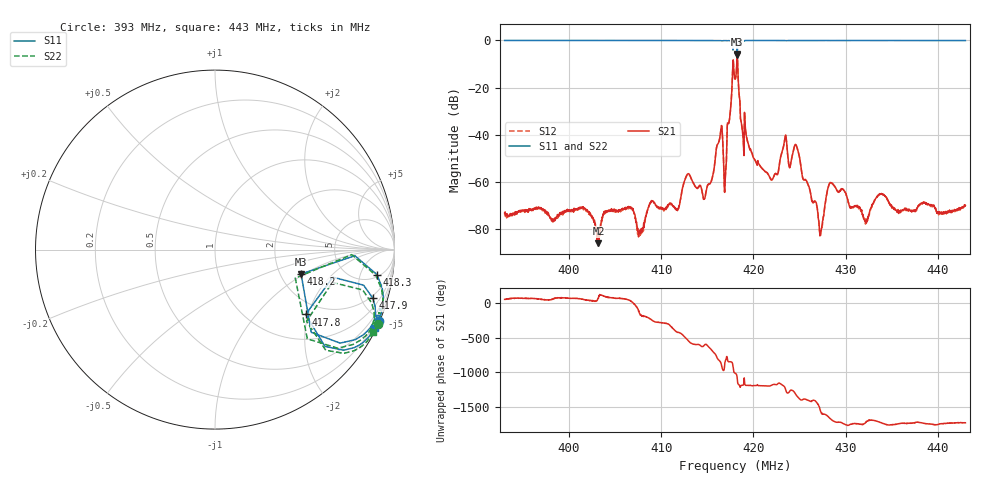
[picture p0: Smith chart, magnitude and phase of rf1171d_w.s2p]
!HP8753
# HZ S RI R 50
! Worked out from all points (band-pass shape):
!   1601 points, 393 MHz to 443 MHz, reference 50 ohm
!   highest |S21| = -5.77 dB at 418.2 MHz (marker M1); lowest = -86.0 dB at 403.2 MHz (marker M2)
!   |S21| within 3 dB of the highest: 417.7798 MHz to 417.8193 MHz (39.55 kHz wide, 0.00947 % of centre); 418.2048 MHz to 418.2824 MHz (77.63 kHz wide, 0.0186 % of centre)
!   lowest |S11| = -6.0 dB at 418.2 MHz (marker M3), VSWR 2.99, Z = 130 - j47 ohm
!   |S11| at or under -10 dB: nowhere
!   |S22| runs from -6.5 to 0.0 dB; largest |S21 - S12| = 0.019
!   S11 on the Smith chart (normalised r, x): 393 MHz: 0.06, -4.82; 417.8 MHz: 1.64, -1.92; 417.9 MHz: 1.73, -6.17; 418.2 MHz: 2.60, -0.94; 418.3 MHz: 6, -10; 443 MHz: 0.08, -4.31
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3.93e8  0.9133 -0.396  0.000135 0.000172  0.000131 0.000149  0.9103 -0.4169
4.013437e8  0.9096 -0.4044  0.000162 0.000238  0.000148 0.000223  0.9064 -0.4252
4.031875e8  0.9087 -0.4062  1.92e-05 4.62e-05  8.2e-06 4.23e-05  0.905 -0.4269
4.096875e8  0.9045 -0.4141  4.21e-05 0.00029  4.29e-05 0.000282  0.9008 -0.4352
4.129062e8  0.9003 -0.4196  -0.00149 3.26e-05  -0.00145 9e-07  0.8958 -0.4407
4.147188e8  0.8981 -0.4255  -0.000195 0.000398  -0.000206 0.000398  0.8933 -0.447
4.164062e8  0.8854 -0.4407  -0.00625 -0.00814  -0.00614 -0.00817  0.8797 -0.4623
4.169062e8  0.8857 -0.4416  -0.000618 -0.000559  -0.000602 -0.0006  0.8804 -0.463
4.177812e8  0.5049 -0.3614  -0.3602 0.0886  -0.3632 0.0963  0.5102 -0.399
4.17875e8  0.8799 -0.2712  0.0162 0.2267  0.0146 0.2225  0.8737 -0.2988
4.18e8  0.8845 -0.399  0.056 0.1409  0.0535 0.1405  0.8761 -0.4254
4.1825e8  0.4798 -0.1359  0.482 -0.1806  0.4662 -0.1905  0.4474 -0.1588
4.183125e8  0.9028 -0.1397  0.0364 -0.2277  0.0353 -0.2208  0.8974 -0.1441
4.1875e8  0.9235 -0.3647  -0.00444 -0.0141  -0.00414 -0.0139  0.9191 -0.3859
4.201563e8  0.9094 -0.4022  -0.00104 -0.00274  -0.000992 -0.00272  0.9037 -0.4243
4.24625e8  0.8988 -0.4113  -0.00262 0.00544  -0.00264 0.00536  0.8925 -0.4343
4.263437e8  0.9014 -0.4177  0.00035 0.000181  0.000344 0.000166  0.8947 -0.4406
4.273125e8  0.9 -0.4197  -5.89e-05 -6.85e-05  -4.51e-05 -6.08e-05  0.8931 -0.443
4.284062e8  0.899 -0.4209  -0.000503 0.000812  -0.000525 0.0008  0.8917 -0.444
4.321875e8  0.8968 -0.4259  3.66e-05 0.000143  3.57e-05 0.000133  0.8892 -0.4495
4.346875e8  0.8955 -0.4281  0.000289 0.000247  0.000266 0.000233  0.8873 -0.4526
4.43e8  0.8904 -0.4371  9.64e-05 0.000301  0.000107 0.000308  0.8804 -0.4617
